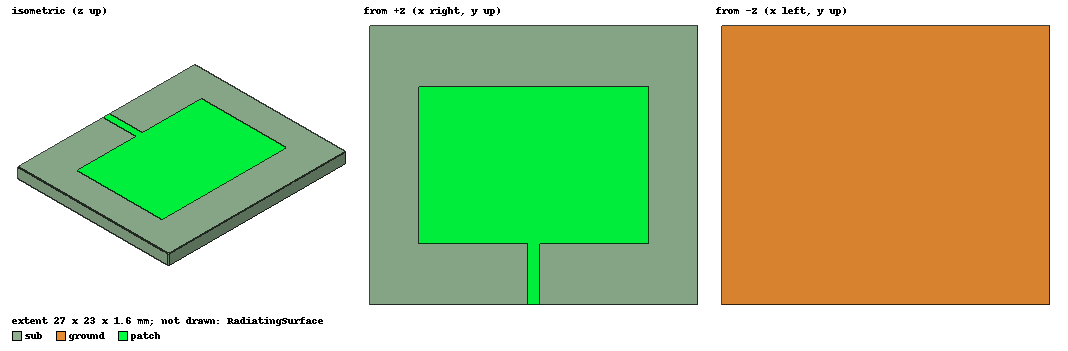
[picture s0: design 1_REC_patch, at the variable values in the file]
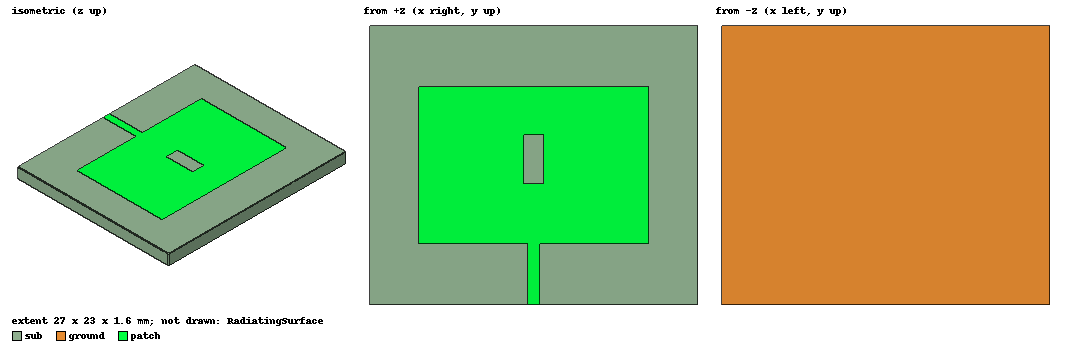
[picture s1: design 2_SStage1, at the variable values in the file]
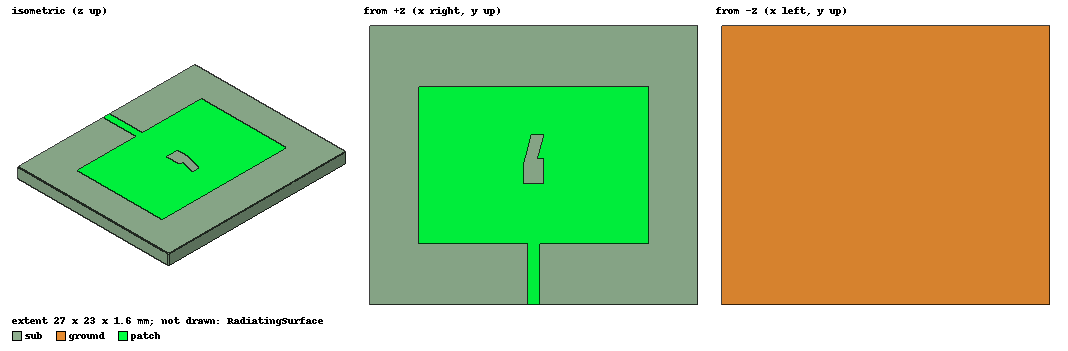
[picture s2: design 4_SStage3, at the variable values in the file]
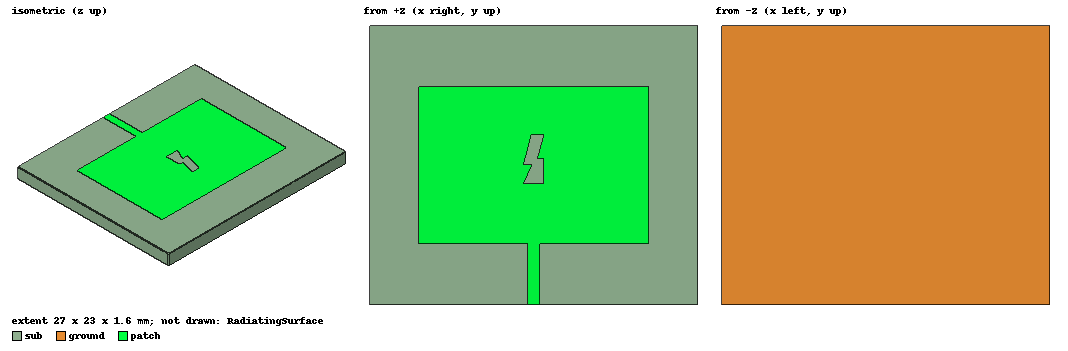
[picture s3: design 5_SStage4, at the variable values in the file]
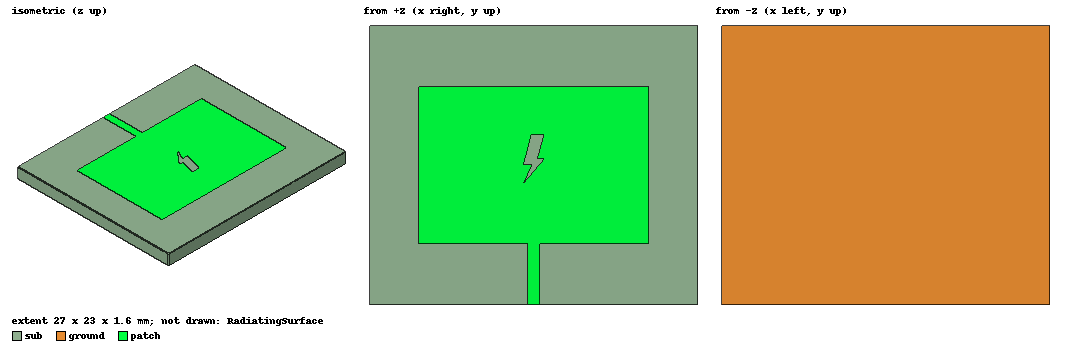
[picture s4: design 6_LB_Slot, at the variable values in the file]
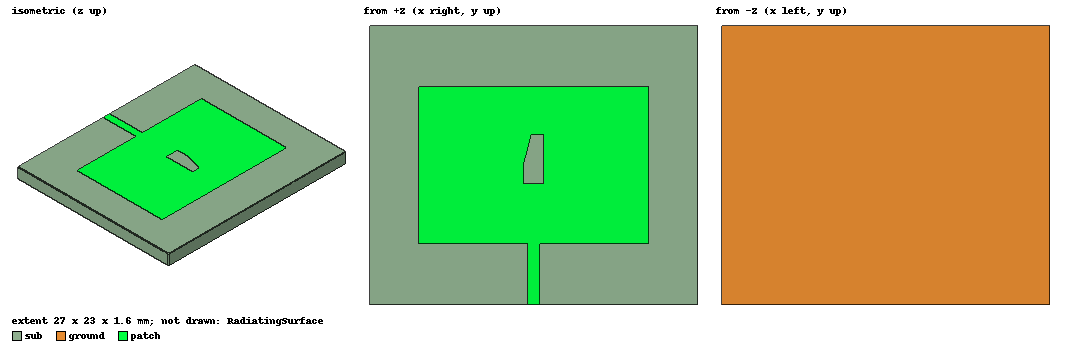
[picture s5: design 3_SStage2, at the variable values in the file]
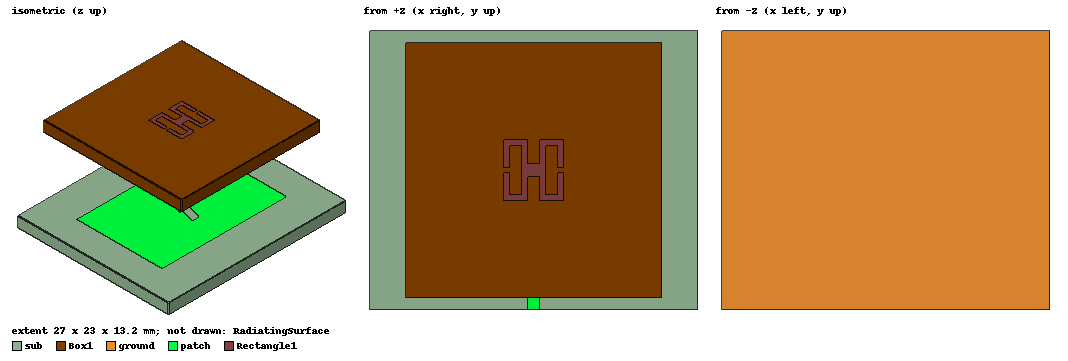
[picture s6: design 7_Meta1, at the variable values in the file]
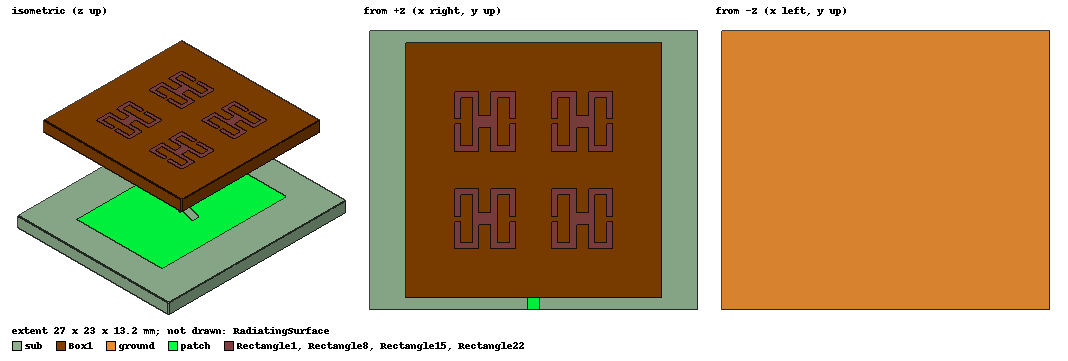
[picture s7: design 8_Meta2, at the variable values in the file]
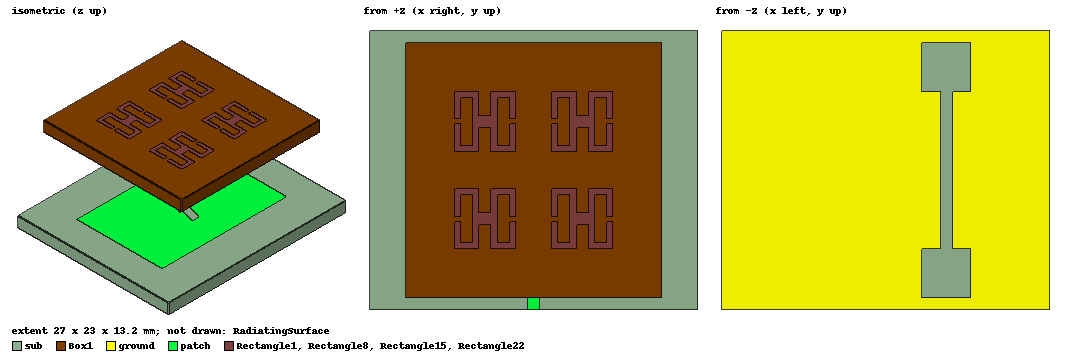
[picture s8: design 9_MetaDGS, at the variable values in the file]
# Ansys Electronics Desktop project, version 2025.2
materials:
  FR4_epoxy: permittivity=4.4 dielectric_loss_tangent=0.02
  vacuum: permittivity=1

design 1_REC_patch (HFSS, HFSS Modal Network, model units mm)
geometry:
  sub [FR4_epoxy] = box(corner=(0mm, 0mm, -1.6mm), size=(27mm, 23mm, 1.6mm))
  patch = rectangle(corner=(4mm, 5mm, 0mm), x_size=19mm, y_size=13mm)
  feed = rectangle(corner=(13mm, 0mm, 0mm), x_size=1mm, y_size=6mm)
  patch.unite(feed)
  ground = rectangle(corner=(0mm, 0mm, -1.6mm), x_size=27mm, y_size=23mm)
  port = rectangle(corner=(13mm, 0mm, 0mm), z_size=-1.6mm, x_size=1mm)
  RadiatingSurface [vacuum] = region(absolute_offset=20mm on all sides)
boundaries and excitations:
  PerfE1: Perfect E Objects=patch
  PerfE2: Perfect E Objects=ground
  Open1: Radiation Objects=RadiatingSurface
  1: Lumped Port Objects=port LumpedPortType=Modal Modes{Mode1{IntLine{(13.5, 0, -1.6) -> (13.5, 0, 0)} CharImp=Zpi}} Impedance=50ohm
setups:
  Setup1: HfssDriven Frequency=5GHz MaxDeltaS=0.02 MaximumPasses=6 MinimumPasses=1 MinimumConvergedPasses=1 PercentRefinement=30 BasisOrder=1 PortAccuracy=2 DrivenSolverType="Direct Solver"
    sweep Sweep: 2.5GHz to 7.5GHz, 401 points; Type=Fast SaveFields
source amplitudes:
  1:1: 1W 0deg
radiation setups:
  3D: Infinite Sphere Theta=0deg..180deg step 2deg Phi=-180deg..180deg step 2deg
  Elevation: Infinite Sphere Theta=-180deg..180deg step 1deg Phi=0deg..90deg step 90deg
  Azimuth: Infinite Sphere Theta=90deg..90deg step 0deg Phi=-180deg..180deg step 1deg
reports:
  S Parameter Plot1: dB(S(1,1)) vs Freq on Setup1 : Sweep; markers m1 at 5GHz, MY1 at y=-10
  Gain Plot1: dB(GainTotal) vs Phi, Theta on Setup1 : Sweep, 3D [Freq=5GHz]

design 2_SStage1 (HFSS, HFSS Modal Network, model units mm)
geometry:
  sub [FR4_epoxy] = box(corner=(0mm, 0mm, -1.6mm), size=(27mm, 23mm, 1.6mm))
  patch = rectangle(corner=(4mm, 5mm, 0mm), x_size=19mm, y_size=13mm)
  feed = rectangle(corner=(13mm, 0mm, 0mm), x_size=1mm, y_size=6mm)
  patch.unite(feed)
  ground = rectangle(corner=(0mm, 0mm, -1.6mm), x_size=27mm, y_size=23mm)
  port = rectangle(corner=(13mm, 0mm, 0mm), z_size=-1.6mm, x_size=1mm)
  RadiatingSurface [vacuum] = region(absolute_offset=20mm on all sides)
  point Point1 = (12.65mm, 8.85mm, 0mm)
  Rectangle1 = rectangle(corner=(12.65mm, 10mm, 0mm), x_size=1.7mm, y_size=4mm)
  patch.subtract(Rectangle1)
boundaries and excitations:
  PerfE1: Perfect E Objects=patch
  PerfE2: Perfect E Objects=ground
  Open1: Radiation Objects=RadiatingSurface
  1: Lumped Port Objects=port LumpedPortType=Modal Modes{Mode1{IntLine{(13.5, 0, -1.6) -> (13.5, 0, 0)} CharImp=Zpi}} Impedance=50ohm
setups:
  Setup1: HfssDriven Frequency=5GHz MaxDeltaS=0.02 MaximumPasses=6 MinimumPasses=1 MinimumConvergedPasses=1 PercentRefinement=30 BasisOrder=1 PortAccuracy=2 DrivenSolverType="Direct Solver"
    sweep Sweep: 2.5GHz to 7.5GHz, 401 points; Type=Fast SaveFields
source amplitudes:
  1:1: 1W 0deg
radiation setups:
  3D: Infinite Sphere Theta=0deg..180deg step 2deg Phi=-180deg..180deg step 2deg
  Elevation: Infinite Sphere Theta=-180deg..180deg step 1deg Phi=0deg..90deg step 90deg
  Azimuth: Infinite Sphere Theta=90deg..90deg step 0deg Phi=-180deg..180deg step 1deg
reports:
  S Parameter Plot1: dB(S(1,1)) vs Freq on Setup1 : Sweep; markers m1 at 5GHz, MY1 at y=-10
  Gain Plot1: dB(GainTotal) vs Phi, Theta on Setup1 : Sweep, 3D [Freq=5GHz]

design 4_SStage3 (HFSS, HFSS Modal Network, model units mm)
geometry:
  sub [FR4_epoxy] = box(corner=(0mm, 0mm, -1.6mm), size=(27mm, 23mm, 1.6mm))
  patch = rectangle(corner=(4mm, 5mm, 0mm), x_size=19mm, y_size=13mm)
  feed = rectangle(corner=(13mm, 0mm, 0mm), x_size=1mm, y_size=6mm)
  patch.unite(feed)
  ground = rectangle(corner=(0mm, 0mm, -1.6mm), x_size=27mm, y_size=23mm)
  port = rectangle(corner=(13mm, 0mm, 0mm), z_size=-1.6mm, x_size=1mm)
  RadiatingSurface [vacuum] = region(absolute_offset=20mm on all sides)
  point Point1 = (12.65mm, 8.85mm, 0mm)
  Rectangle1 = rectangle(corner=(12.65mm, 10mm, 0mm), x_size=1.7mm, y_size=4mm)
  Polyline1 = polyline(z=0mm, xy in mm: (12.65, 14) (13.3, 14) (12.65, 11.5) (12.65, 14), closed, covered)
  Rectangle1.subtract(Polyline1)
  Polyline2 = polyline(z=0mm, xy in mm: (14.35, 14) (13.8, 12) (14.35, 12) (14.35, 14), closed, covered)
  Rectangle1.subtract(Polyline2)
  patch.subtract(Rectangle1)
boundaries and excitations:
  PerfE1: Perfect E Objects=patch
  PerfE2: Perfect E Objects=ground
  Open1: Radiation Objects=RadiatingSurface
  1: Lumped Port Objects=port LumpedPortType=Modal Modes{Mode1{IntLine{(13.5, 0, -1.6) -> (13.5, 0, 0)} CharImp=Zpi}} Impedance=50ohm
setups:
  Setup1: HfssDriven Frequency=5GHz MaxDeltaS=0.02 MaximumPasses=6 MinimumPasses=1 MinimumConvergedPasses=1 PercentRefinement=30 BasisOrder=1 PortAccuracy=2 DrivenSolverType="Direct Solver"
    sweep Sweep: 2.5GHz to 7.5GHz, 401 points; Type=Fast SaveFields
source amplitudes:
  1:1: 1W 0deg
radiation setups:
  3D: Infinite Sphere Theta=0deg..180deg step 2deg Phi=-180deg..180deg step 2deg
  Elevation: Infinite Sphere Theta=-180deg..180deg step 1deg Phi=0deg..90deg step 90deg
  Azimuth: Infinite Sphere Theta=90deg..90deg step 0deg Phi=-180deg..180deg step 1deg
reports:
  S Parameter Plot1: dB(S(1,1)) vs Freq on Setup1 : Sweep; markers m1 at 4.9875GHz, MY1 at y=-10
  Gain Plot1: dB(GainTotal) vs Phi, Theta on Setup1 : Sweep, 3D [Freq=4.9875GHz]

design 5_SStage4 (HFSS, HFSS Modal Network, model units mm)
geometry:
  sub [FR4_epoxy] = box(corner=(0mm, 0mm, -1.6mm), size=(27mm, 23mm, 1.6mm))
  patch = rectangle(corner=(4mm, 5mm, 0mm), x_size=19mm, y_size=13mm)
  feed = rectangle(corner=(13mm, 0mm, 0mm), x_size=1mm, y_size=6mm)
  patch.unite(feed)
  ground = rectangle(corner=(0mm, 0mm, -1.6mm), x_size=27mm, y_size=23mm)
  port = rectangle(corner=(13mm, 0mm, 0mm), z_size=-1.6mm, x_size=1mm)
  RadiatingSurface [vacuum] = region(absolute_offset=20mm on all sides)
  point Point1 = (12.65mm, 8.85mm, 0mm)
  Rectangle1 = rectangle(corner=(12.65mm, 10mm, 0mm), x_size=1.7mm, y_size=4mm)
  Polyline1 = polyline(z=0mm, xy in mm: (12.65, 14) (13.3, 14) (12.65, 11.5) (12.65, 14), closed, covered)
  Rectangle1.subtract(Polyline1)
  Polyline2 = polyline(z=0mm, xy in mm: (14.35, 14) (13.8, 12) (14.35, 12) (14.35, 14), closed, covered)
  Rectangle1.subtract(Polyline2)
  Polyline3 = polyline(z=0mm, xy in mm: (12.65, 11.5) (13.35, 11.5) (12.65, 10) (12.65, 11.5), closed, covered)
  Rectangle1.subtract(Polyline3)
  patch.subtract(Rectangle1)
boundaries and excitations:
  PerfE1: Perfect E Objects=patch
  PerfE2: Perfect E Objects=ground
  Open1: Radiation Objects=RadiatingSurface
  1: Lumped Port Objects=port LumpedPortType=Modal Modes{Mode1{IntLine{(13.5, 0, -1.6) -> (13.5, 0, 0)} CharImp=Zpi}} Impedance=50ohm
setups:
  Setup1: HfssDriven Frequency=5GHz MaxDeltaS=0.02 MaximumPasses=6 MinimumPasses=1 MinimumConvergedPasses=1 PercentRefinement=30 BasisOrder=1 PortAccuracy=2 DrivenSolverType="Direct Solver"
    sweep Sweep: 2.5GHz to 7.5GHz, 401 points; Type=Fast SaveFields
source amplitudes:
  1:1: 1W 0deg
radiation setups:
  3D: Infinite Sphere Theta=0deg..180deg step 2deg Phi=-180deg..180deg step 2deg
  Elevation: Infinite Sphere Theta=-180deg..180deg step 1deg Phi=0deg..90deg step 90deg
  Azimuth: Infinite Sphere Theta=90deg..90deg step 0deg Phi=-180deg..180deg step 1deg
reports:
  S Parameter Plot1: dB(S(1,1)) vs Freq on Setup1 : Sweep; markers m1 at 5GHz, MY1 at y=-10
  Gain Plot1: dB(GainTotal) vs Phi, Theta on Setup1 : Sweep, 3D [Freq=5GHz]

design 6_LB_Slot (HFSS, HFSS Modal Network, model units mm)
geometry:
  sub [FR4_epoxy] = box(corner=(0mm, 0mm, -1.6mm), size=(27mm, 23mm, 1.6mm))
  patch = rectangle(corner=(4mm, 5mm, 0mm), x_size=19mm, y_size=13mm)
  feed = rectangle(corner=(13mm, 0mm, 0mm), x_size=1mm, y_size=6mm)
  patch.unite(feed)
  ground = rectangle(corner=(0mm, 0mm, -1.6mm), x_size=27mm, y_size=23mm)
  port = rectangle(corner=(13mm, 0mm, 0mm), z_size=-1.6mm, x_size=1mm)
  RadiatingSurface [vacuum] = region(absolute_offset=20mm on all sides)
  point Point1 = (12.65mm, 8.85mm, 0mm)
  Rectangle1 = rectangle(corner=(12.65mm, 10mm, 0mm), x_size=1.7mm, y_size=4mm)
  Polyline1 = polyline(z=0mm, xy in mm: (12.65, 14) (13.3, 14) (12.65, 11.5) (12.65, 14), closed, covered)
  Rectangle1.subtract(Polyline1)
  Polyline2 = polyline(z=0mm, xy in mm: (14.35, 14) (13.8, 12) (14.35, 12) (14.35, 14), closed, covered)
  Rectangle1.subtract(Polyline2)
  Polyline3 = polyline(z=0mm, xy in mm: (12.65, 11.5) (13.35, 11.5) (12.65, 10) (12.65, 11.5), closed, covered)
  Rectangle1.subtract(Polyline3)
  Polyline4 = polyline(z=0mm, xy in mm: (14.35, 12) (14.35, 10) (12.65, 10) (14.35, 12), closed, covered)
  Rectangle1.subtract(Polyline4)
  patch.subtract(Rectangle1)
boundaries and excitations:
  PerfE1: Perfect E Objects=patch
  PerfE2: Perfect E Objects=ground
  Open1: Radiation Objects=RadiatingSurface
  1: Lumped Port Objects=port LumpedPortType=Modal Modes{Mode1{IntLine{(13.5, 0, -1.6) -> (13.5, 0, 0)} CharImp=Zpi}} Impedance=50ohm
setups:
  Setup1: HfssDriven Frequency=5GHz MaxDeltaS=0.02 MaximumPasses=6 MinimumPasses=1 MinimumConvergedPasses=1 PercentRefinement=30 BasisOrder=1 PortAccuracy=2 DrivenSolverType="Direct Solver"
    sweep Sweep: 2.5GHz to 7.5GHz, 401 points; Type=Fast SaveFields
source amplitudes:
  1:1: 1W 0deg
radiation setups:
  3D: Infinite Sphere Theta=0deg..180deg step 2deg Phi=-180deg..180deg step 2deg
  Elevation: Infinite Sphere Theta=-180deg..180deg step 1deg Phi=0deg..90deg step 90deg
  Azimuth: Infinite Sphere Theta=90deg..90deg step 0deg Phi=-180deg..180deg step 1deg
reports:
  S Parameter Plot1: dB(S(1,1)) vs Freq on Setup1 : Sweep; markers m1 at 5GHz, MY1 at y=-10
  Gain Plot1: dB(GainTotal) vs Phi, Theta on Setup1 : Sweep, 3D [Freq=5GHz]

design 3_SStage2 (HFSS, HFSS Modal Network, model units mm)
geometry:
  sub [FR4_epoxy] = box(corner=(0mm, 0mm, -1.6mm), size=(27mm, 23mm, 1.6mm))
  patch = rectangle(corner=(4mm, 5mm, 0mm), x_size=19mm, y_size=13mm)
  feed = rectangle(corner=(13mm, 0mm, 0mm), x_size=1mm, y_size=6mm)
  patch.unite(feed)
  ground = rectangle(corner=(0mm, 0mm, -1.6mm), x_size=27mm, y_size=23mm)
  port = rectangle(corner=(13mm, 0mm, 0mm), z_size=-1.6mm, x_size=1mm)
  RadiatingSurface [vacuum] = region(absolute_offset=20mm on all sides)
  point Point1 = (12.65mm, 8.85mm, 0mm)
  Rectangle1 = rectangle(corner=(12.65mm, 10mm, 0mm), x_size=1.7mm, y_size=4mm)
  Polyline1 = polyline(z=0mm, xy in mm: (12.65, 14) (13.3, 14) (12.65, 11.5) (12.65, 14), closed, covered)
  Rectangle1.subtract(Polyline1)
  patch.subtract(Rectangle1)
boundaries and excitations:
  PerfE1: Perfect E Objects=patch
  PerfE2: Perfect E Objects=ground
  Open1: Radiation Objects=RadiatingSurface
  1: Lumped Port Objects=port LumpedPortType=Modal Modes{Mode1{IntLine{(13.5, 0, -1.6) -> (13.5, 0, 0)} CharImp=Zpi}} Impedance=50ohm
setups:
  Setup1: HfssDriven Frequency=5GHz MaxDeltaS=0.02 MaximumPasses=6 MinimumPasses=1 MinimumConvergedPasses=1 PercentRefinement=30 BasisOrder=1 PortAccuracy=2 DrivenSolverType="Direct Solver"
    sweep Sweep: 2.5GHz to 7.5GHz, 401 points; Type=Fast SaveFields
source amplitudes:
  1:1: 1W 0deg
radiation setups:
  3D: Infinite Sphere Theta=0deg..180deg step 2deg Phi=-180deg..180deg step 2deg
  Elevation: Infinite Sphere Theta=-180deg..180deg step 1deg Phi=0deg..90deg step 90deg
  Azimuth: Infinite Sphere Theta=90deg..90deg step 0deg Phi=-180deg..180deg step 1deg
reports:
  S Parameter Plot1: dB(S(1,1)) vs Freq on Setup1 : Sweep; markers m1 at 5GHz, MY1 at y=-10
  Gain Plot1: dB(GainTotal) vs Phi, Theta on Setup1 : Sweep, 3D [Freq=5GHz]

design 7_Meta1 (HFSS, HFSS Modal Network, model units mm)
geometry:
  sub [FR4_epoxy] = box(corner=(0mm, 0mm, -1.6mm), size=(27mm, 23mm, 1.6mm))
  patch = rectangle(corner=(4mm, 5mm, 0mm), x_size=19mm, y_size=13mm)
  feed = rectangle(corner=(13mm, 0mm, 0mm), x_size=1mm, y_size=6mm)
  patch.unite(feed)
  ground = rectangle(corner=(0mm, 0mm, -1.6mm), x_size=27mm, y_size=23mm)
  port = rectangle(corner=(13mm, 0mm, 0mm), z_size=-1.6mm, x_size=1mm)
  Polyline1 = polyline(z=0mm, xy in mm: (13.3, 14) (14.35, 14) (13.8, 12) (14.35, 12) (12.65, 10) (13.35, 11.5) (12.65, 11.5) (13.3, 14), closed, covered)
  patch.subtract(Polyline1)
  point Point1 = (12.65mm, 8.85mm, 0mm)
  Box1 [FR4_epoxy] = box(corner=(3mm, 1mm, 10mm), size=(21mm, 21mm, 1.6mm))
  Rectangle1 = rectangle(corner=(7mm, 7mm, 1.6mm), x_size=1mm, y_size=1mm)
  Rectangle2 = rectangle(corner=(4mm, 5mm, 1.6mm), x_size=2mm, y_size=5mm)
  Rectangle3 = rectangle(corner=(4.5mm, 5.5mm, 1.6mm), x_size=1mm, y_size=4mm)
  Rectangle4 = rectangle(corner=(4mm, 7.3mm, 1.6mm), x_size=0.6mm, y_size=0.4mm)
  Rectangle2.subtract(Rectangle3, Rectangle4)
  Rectangle2.move(1mm, 0mm, 0mm)
  Rectangle5 = rectangle(corner=(4mm, 5mm, 1.6mm), x_size=2mm, y_size=5mm)
  Rectangle6 = rectangle(corner=(4.5mm, 5.5mm, 1.6mm), x_size=1mm, y_size=4mm)
  Rectangle7 = rectangle(corner=(4mm, 7.3mm, 1.6mm), x_size=0.6mm, y_size=0.4mm)
  Rectangle5.subtract(Rectangle6, Rectangle7)
  Rectangle5.move(4mm, -8.8817842e-16mm, 1.6mm)
  Rectangle5.mirror(point=(10.5mm, 7.5mm, 1.5mm), normal=(1mm, 0mm, 0mm))
  Rectangle5.move(-2mm, 0mm, -1.6mm)
  Rectangle5.move(-1mm, 0mm, 0mm)
  Rectangle1.unite(Rectangle2, Rectangle5)
  Rectangle1.move(6mm, 4mm, 10mm)
  RadiatingSurface [vacuum] = region(absolute_offset=20mm on all sides)
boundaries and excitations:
  PerfE1: Perfect E Objects=patch
  PerfE2: Perfect E Objects=ground
  PerfE4: Perfect E Objects=Rectangle1
  Open1: Radiation Objects=RadiatingSurface
  1: Lumped Port Objects=port LumpedPortType=Modal Modes{Mode1{IntLine{(13.5, 0, -1.6) -> (13.5, 0, 0)} CharImp=Zpi}} Impedance=50ohm
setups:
  Setup1: HfssDriven Frequency=5GHz MaxDeltaS=0.02 MaximumPasses=6 MinimumPasses=1 MinimumConvergedPasses=1 PercentRefinement=30 BasisOrder=1 PortAccuracy=2 DrivenSolverType="Direct Solver"
    sweep Sweep: 2.5GHz to 7.5GHz, 401 points; Type=Fast SaveFields
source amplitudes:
  1:1: 1W 0deg
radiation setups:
  3D: Infinite Sphere Theta=0deg..180deg step 2deg Phi=-180deg..180deg step 2deg
  Elevation: Infinite Sphere Theta=-180deg..180deg step 1deg Phi=0deg..90deg step 90deg
  Azimuth: Infinite Sphere Theta=90deg..90deg step 0deg Phi=-180deg..180deg step 1deg
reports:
  S Parameter Plot1: dB(S(1,1)) vs Freq on Setup1 : Sweep; markers m1 at 4.9875GHz, MY1 at y=-10
  Gain Plot1: dB(GainTotal) vs Phi, Theta on Setup1 : Sweep, 3D [Freq=4.9875GHz]

design 8_Meta2 (HFSS, HFSS Modal Network, model units mm)
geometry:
  sub [FR4_epoxy] = box(corner=(0mm, 0mm, -1.6mm), size=(27mm, 23mm, 1.6mm))
  patch = rectangle(corner=(4mm, 5mm, 0mm), x_size=19mm, y_size=13mm)
  feed = rectangle(corner=(13mm, 0mm, 0mm), x_size=1mm, y_size=6mm)
  patch.unite(feed)
  ground = rectangle(corner=(0mm, 0mm, -1.6mm), x_size=27mm, y_size=23mm)
  port = rectangle(corner=(13mm, 0mm, 0mm), z_size=-1.6mm, x_size=1mm)
  Polyline1 = polyline(z=0mm, xy in mm: (13.3, 14) (14.35, 14) (13.8, 12) (14.35, 12) (12.65, 10) (13.35, 11.5) (12.65, 11.5) (13.3, 14), closed, covered)
  patch.subtract(Polyline1)
  point Point1 = (12.65mm, 8.85mm, 0mm)
  Box1 [FR4_epoxy] = box(corner=(3mm, 1mm, 10mm), size=(21mm, 21mm, 1.6mm))
  Rectangle1 = rectangle(corner=(7mm, 7mm, 1.6mm), x_size=1mm, y_size=1mm)
  Rectangle2 = rectangle(corner=(4mm, 5mm, 1.6mm), x_size=2mm, y_size=5mm)
  Rectangle3 = rectangle(corner=(4.5mm, 5.5mm, 1.6mm), x_size=1mm, y_size=4mm)
  Rectangle4 = rectangle(corner=(4mm, 7.3mm, 1.6mm), x_size=0.6mm, y_size=0.4mm)
  Rectangle2.subtract(Rectangle3, Rectangle4)
  Rectangle2.move(1mm, 0mm, 0mm)
  Rectangle5 = rectangle(corner=(4mm, 5mm, 1.6mm), x_size=2mm, y_size=5mm)
  Rectangle6 = rectangle(corner=(4.5mm, 5.5mm, 1.6mm), x_size=1mm, y_size=4mm)
  Rectangle7 = rectangle(corner=(4mm, 7.3mm, 1.6mm), x_size=0.6mm, y_size=0.4mm)
  Rectangle5.subtract(Rectangle6, Rectangle7)
  Rectangle5.move(4mm, -8.8817842e-16mm, 1.6mm)
  Rectangle5.mirror(point=(10.5mm, 7.5mm, 1.5mm), normal=(1mm, 0mm, 0mm))
  Rectangle5.move(-2mm, 0mm, -1.6mm)
  Rectangle5.move(-1mm, 0mm, 0mm)
  Rectangle1.unite(Rectangle2, Rectangle5)
  Rectangle1.move(6mm, 4mm, 10mm)
  Rectangle1.move(-4mm, 4mm, 0mm)
  Rectangle8 = rectangle(corner=(7mm, 7mm, 1.6mm), x_size=1mm, y_size=1mm)
  Rectangle9 = rectangle(corner=(4mm, 5mm, 1.6mm), x_size=2mm, y_size=5mm)
  Rectangle10 = rectangle(corner=(4.5mm, 5.5mm, 1.6mm), x_size=1mm, y_size=4mm)
  Rectangle11 = rectangle(corner=(4mm, 7.3mm, 1.6mm), x_size=0.6mm, y_size=0.4mm)
  Rectangle9.subtract(Rectangle10, Rectangle11)
  Rectangle9.move(1mm, 0mm, 0mm)
  Rectangle12 = rectangle(corner=(4mm, 5mm, 1.6mm), x_size=2mm, y_size=5mm)
  Rectangle13 = rectangle(corner=(4.5mm, 5.5mm, 1.6mm), x_size=1mm, y_size=4mm)
  Rectangle14 = rectangle(corner=(4mm, 7.3mm, 1.6mm), x_size=0.6mm, y_size=0.4mm)
  Rectangle12.subtract(Rectangle13, Rectangle14)
  Rectangle12.move(4mm, -8.8817842e-16mm, 1.6mm)
  Rectangle12.mirror(point=(10.5mm, 7.5mm, 1.5mm), normal=(1mm, 0mm, 0mm))
  Rectangle12.move(-2mm, 0mm, -1.6mm)
  Rectangle12.move(-1mm, 0mm, 0mm)
  Rectangle8.unite(Rectangle9, Rectangle12)
  Rectangle8.move(6mm, 4mm, 10mm)
  Rectangle8.move(-4mm, 4mm, 0mm)
  Rectangle8.move(8mm, 0mm, 0mm)
  Rectangle15 = rectangle(corner=(7mm, 7mm, 1.6mm), x_size=1mm, y_size=1mm)
  Rectangle16 = rectangle(corner=(4mm, 5mm, 1.6mm), x_size=2mm, y_size=5mm)
  Rectangle17 = rectangle(corner=(4.5mm, 5.5mm, 1.6mm), x_size=1mm, y_size=4mm)
  Rectangle18 = rectangle(corner=(4mm, 7.3mm, 1.6mm), x_size=0.6mm, y_size=0.4mm)
  Rectangle16.subtract(Rectangle17, Rectangle18)
  Rectangle16.move(1mm, 0mm, 0mm)
  Rectangle19 = rectangle(corner=(4mm, 5mm, 1.6mm), x_size=2mm, y_size=5mm)
  Rectangle20 = rectangle(corner=(4.5mm, 5.5mm, 1.6mm), x_size=1mm, y_size=4mm)
  Rectangle21 = rectangle(corner=(4mm, 7.3mm, 1.6mm), x_size=0.6mm, y_size=0.4mm)
  Rectangle19.subtract(Rectangle20, Rectangle21)
  Rectangle19.move(4mm, -8.8817842e-16mm, 1.6mm)
  Rectangle19.mirror(point=(10.5mm, 7.5mm, 1.5mm), normal=(1mm, 0mm, 0mm))
  Rectangle19.move(-2mm, 0mm, -1.6mm)
  Rectangle19.move(-1mm, 0mm, 0mm)
  Rectangle15.unite(Rectangle16, Rectangle19)
  Rectangle15.move(6mm, 4mm, 10mm)
  Rectangle15.move(-4mm, 4mm, 0mm)
  Rectangle15.move(0mm, -8mm, 0mm)
  Rectangle22 = rectangle(corner=(7mm, 7mm, 1.6mm), x_size=1mm, y_size=1mm)
  Rectangle23 = rectangle(corner=(4mm, 5mm, 1.6mm), x_size=2mm, y_size=5mm)
  Rectangle24 = rectangle(corner=(4.5mm, 5.5mm, 1.6mm), x_size=1mm, y_size=4mm)
  Rectangle25 = rectangle(corner=(4mm, 7.3mm, 1.6mm), x_size=0.6mm, y_size=0.4mm)
  Rectangle23.subtract(Rectangle24, Rectangle25)
  Rectangle23.move(1mm, 0mm, 0mm)
  Rectangle26 = rectangle(corner=(4mm, 5mm, 1.6mm), x_size=2mm, y_size=5mm)
  Rectangle27 = rectangle(corner=(4.5mm, 5.5mm, 1.6mm), x_size=1mm, y_size=4mm)
  Rectangle28 = rectangle(corner=(4mm, 7.3mm, 1.6mm), x_size=0.6mm, y_size=0.4mm)
  Rectangle26.subtract(Rectangle27, Rectangle28)
  Rectangle26.move(4mm, -8.8817842e-16mm, 1.6mm)
  Rectangle26.mirror(point=(10.5mm, 7.5mm, 1.5mm), normal=(1mm, 0mm, 0mm))
  Rectangle26.move(-2mm, 0mm, -1.6mm)
  Rectangle26.move(-1mm, 0mm, 0mm)
  Rectangle22.unite(Rectangle23, Rectangle26)
  Rectangle22.move(6mm, 4mm, 10mm)
  Rectangle22.move(-4mm, 4mm, 0mm)
  Rectangle22.move(0mm, -8mm, 0mm)
  Rectangle22.move(8mm, 0mm, 0mm)
  RadiatingSurface [vacuum] = region(absolute_offset=20mm on all sides)
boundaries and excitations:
  PerfE1: Perfect E Objects=patch
  PerfE2: Perfect E Objects=ground
  PerfE4: Perfect E Objects=Rectangle1
  PerfE5: Perfect E Objects=Rectangle8
  PerfE6: Perfect E Objects=Rectangle15
  PerfE7: Perfect E Objects=Rectangle22
  Open1: Radiation Objects=RadiatingSurface
  1: Lumped Port Objects=port LumpedPortType=Modal Modes{Mode1{IntLine{(13.5, 0, -1.6) -> (13.5, 0, 0)} CharImp=Zpi}} Impedance=50ohm
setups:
  Setup1: HfssDriven Frequency=5GHz MaxDeltaS=0.02 MaximumPasses=6 MinimumPasses=1 MinimumConvergedPasses=1 PercentRefinement=30 BasisOrder=1 PortAccuracy=2 DrivenSolverType="Direct Solver"
    sweep Sweep: 2.5GHz to 7.5GHz, 401 points; Type=Fast SaveFields
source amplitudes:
  1:1: 1W 0deg
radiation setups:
  3D: Infinite Sphere Theta=0deg..180deg step 2deg Phi=-180deg..180deg step 2deg
  Elevation: Infinite Sphere Theta=-180deg..180deg step 1deg Phi=0deg..90deg step 90deg
  Azimuth: Infinite Sphere Theta=90deg..90deg step 0deg Phi=-180deg..180deg step 1deg
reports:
  S Parameter Plot1: dB(S(1,1)) vs Freq on Setup1 : Sweep; markers m1 at 4.9875GHz, MY1 at y=-10
  Gain Plot1: dB(GainTotal) vs Phi, Theta on Setup1 : Sweep, 3D [Freq=4.9875GHz]

design 9_MetaDGS (HFSS, HFSS Modal Network, model units mm)
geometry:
  sub [FR4_epoxy] = box(corner=(0mm, 0mm, -1.6mm), size=(27mm, 23mm, 1.6mm))
  patch = rectangle(corner=(4mm, 5mm, 0mm), x_size=19mm, y_size=13mm)
  feed = rectangle(corner=(13mm, 0mm, 0mm), x_size=1mm, y_size=6mm)
  patch.unite(feed)
  ground = rectangle(corner=(0mm, 0mm, -1.6mm), x_size=27mm, y_size=23mm)
  port = rectangle(corner=(13mm, 0mm, 0mm), z_size=-1.6mm, x_size=1mm)
  Polyline1 = polyline(z=0mm, xy in mm: (13.3, 14) (14.35, 14) (13.8, 12) (14.35, 12) (12.65, 10) (13.35, 11.5) (12.65, 11.5) (13.3, 14), closed, covered)
  patch.subtract(Polyline1)
  point Point1 = (12.65mm, 8.85mm, 0mm)
  Box1 [FR4_epoxy] = box(corner=(3mm, 1mm, 10mm), size=(21mm, 21mm, 1.6mm))
  Rectangle1 = rectangle(corner=(7mm, 7mm, 1.6mm), x_size=1mm, y_size=1mm)
  Rectangle2 = rectangle(corner=(4mm, 5mm, 1.6mm), x_size=2mm, y_size=5mm)
  Rectangle3 = rectangle(corner=(4.5mm, 5.5mm, 1.6mm), x_size=1mm, y_size=4mm)
  Rectangle4 = rectangle(corner=(4mm, 7.3mm, 1.6mm), x_size=0.6mm, y_size=0.4mm)
  Rectangle2.subtract(Rectangle3, Rectangle4)
  Rectangle2.move(1mm, 0mm, 0mm)
  Rectangle5 = rectangle(corner=(4mm, 5mm, 1.6mm), x_size=2mm, y_size=5mm)
  Rectangle6 = rectangle(corner=(4.5mm, 5.5mm, 1.6mm), x_size=1mm, y_size=4mm)
  Rectangle7 = rectangle(corner=(4mm, 7.3mm, 1.6mm), x_size=0.6mm, y_size=0.4mm)
  Rectangle5.subtract(Rectangle6, Rectangle7)
  Rectangle5.move(4mm, -8.8817842e-16mm, 1.6mm)
  Rectangle5.mirror(point=(10.5mm, 7.5mm, 1.5mm), normal=(1mm, 0mm, 0mm))
  Rectangle5.move(-2mm, 0mm, -1.6mm)
  Rectangle5.move(-1mm, 0mm, 0mm)
  Rectangle1.unite(Rectangle2, Rectangle5)
  Rectangle1.move(6mm, 4mm, 10mm)
  Rectangle1.move(-4mm, 4mm, 0mm)
  Rectangle8 = rectangle(corner=(7mm, 7mm, 1.6mm), x_size=1mm, y_size=1mm)
  Rectangle9 = rectangle(corner=(4mm, 5mm, 1.6mm), x_size=2mm, y_size=5mm)
  Rectangle10 = rectangle(corner=(4.5mm, 5.5mm, 1.6mm), x_size=1mm, y_size=4mm)
  Rectangle11 = rectangle(corner=(4mm, 7.3mm, 1.6mm), x_size=0.6mm, y_size=0.4mm)
  Rectangle9.subtract(Rectangle10, Rectangle11)
  Rectangle9.move(1mm, 0mm, 0mm)
  Rectangle12 = rectangle(corner=(4mm, 5mm, 1.6mm), x_size=2mm, y_size=5mm)
  Rectangle13 = rectangle(corner=(4.5mm, 5.5mm, 1.6mm), x_size=1mm, y_size=4mm)
  Rectangle14 = rectangle(corner=(4mm, 7.3mm, 1.6mm), x_size=0.6mm, y_size=0.4mm)
  Rectangle12.subtract(Rectangle13, Rectangle14)
  Rectangle12.move(4mm, -8.8817842e-16mm, 1.6mm)
  Rectangle12.mirror(point=(10.5mm, 7.5mm, 1.5mm), normal=(1mm, 0mm, 0mm))
  Rectangle12.move(-2mm, 0mm, -1.6mm)
  Rectangle12.move(-1mm, 0mm, 0mm)
  Rectangle8.unite(Rectangle9, Rectangle12)
  Rectangle8.move(6mm, 4mm, 10mm)
  Rectangle8.move(-4mm, 4mm, 0mm)
  Rectangle8.move(8mm, 0mm, 0mm)
  Rectangle15 = rectangle(corner=(7mm, 7mm, 1.6mm), x_size=1mm, y_size=1mm)
  Rectangle16 = rectangle(corner=(4mm, 5mm, 1.6mm), x_size=2mm, y_size=5mm)
  Rectangle17 = rectangle(corner=(4.5mm, 5.5mm, 1.6mm), x_size=1mm, y_size=4mm)
  Rectangle18 = rectangle(corner=(4mm, 7.3mm, 1.6mm), x_size=0.6mm, y_size=0.4mm)
  Rectangle16.subtract(Rectangle17, Rectangle18)
  Rectangle16.move(1mm, 0mm, 0mm)
  Rectangle19 = rectangle(corner=(4mm, 5mm, 1.6mm), x_size=2mm, y_size=5mm)
  Rectangle20 = rectangle(corner=(4.5mm, 5.5mm, 1.6mm), x_size=1mm, y_size=4mm)
  Rectangle21 = rectangle(corner=(4mm, 7.3mm, 1.6mm), x_size=0.6mm, y_size=0.4mm)
  Rectangle19.subtract(Rectangle20, Rectangle21)
  Rectangle19.move(4mm, -8.8817842e-16mm, 1.6mm)
  Rectangle19.mirror(point=(10.5mm, 7.5mm, 1.5mm), normal=(1mm, 0mm, 0mm))
  Rectangle19.move(-2mm, 0mm, -1.6mm)
  Rectangle19.move(-1mm, 0mm, 0mm)
  Rectangle15.unite(Rectangle16, Rectangle19)
  Rectangle15.move(6mm, 4mm, 10mm)
  Rectangle15.move(-4mm, 4mm, 0mm)
  Rectangle15.move(0mm, -8mm, 0mm)
  Rectangle22 = rectangle(corner=(7mm, 7mm, 1.6mm), x_size=1mm, y_size=1mm)
  Rectangle23 = rectangle(corner=(4mm, 5mm, 1.6mm), x_size=2mm, y_size=5mm)
  Rectangle24 = rectangle(corner=(4.5mm, 5.5mm, 1.6mm), x_size=1mm, y_size=4mm)
  Rectangle25 = rectangle(corner=(4mm, 7.3mm, 1.6mm), x_size=0.6mm, y_size=0.4mm)
  Rectangle23.subtract(Rectangle24, Rectangle25)
  Rectangle23.move(1mm, 0mm, 0mm)
  Rectangle26 = rectangle(corner=(4mm, 5mm, 1.6mm), x_size=2mm, y_size=5mm)
  Rectangle27 = rectangle(corner=(4.5mm, 5.5mm, 1.6mm), x_size=1mm, y_size=4mm)
  Rectangle28 = rectangle(corner=(4mm, 7.3mm, 1.6mm), x_size=0.6mm, y_size=0.4mm)
  Rectangle26.subtract(Rectangle27, Rectangle28)
  Rectangle26.move(4mm, -8.8817842e-16mm, 1.6mm)
  Rectangle26.mirror(point=(10.5mm, 7.5mm, 1.5mm), normal=(1mm, 0mm, 0mm))
  Rectangle26.move(-2mm, 0mm, -1.6mm)
  Rectangle26.move(-1mm, 0mm, 0mm)
  Rectangle22.unite(Rectangle23, Rectangle26)
  Rectangle22.move(6mm, 4mm, 10mm)
  Rectangle22.move(-4mm, 4mm, 0mm)
  Rectangle22.move(0mm, -8mm, 0mm)
  Rectangle22.move(8mm, 0mm, 0mm)
  Rectangle29 = rectangle(corner=(3.5mm, 5mm, -1.6mm), x_size=-1mm, y_size=13mm)
  Rectangle31 = rectangle(corner=(1mm, 22mm, -1.6mm), x_size=4mm, y_size=-4mm)
  Rectangle30 = rectangle(corner=(1mm, 1mm, -1.6mm), x_size=4mm, y_size=4mm)
  Rectangle29.unite(Rectangle31, Rectangle30)
  Rectangle29.move(-0.5mm, 0mm, 0mm)
  Rectangle29.move(0.5mm, 0mm, 0mm)
  Rectangle29.move(0.5mm, 0mm, 0mm)
  Rectangle29.move(1mm, 0mm, 0mm)
  Rectangle29.move(-0.5mm, 0mm, 0mm)
  Rectangle29.move(2.5mm, 1.7763568e-15mm, 0mm)
  Rectangle29.move(2.5mm, -1.7763568e-15mm, 0mm)
  Rectangle29.move(-0.5mm, -1.7763568e-15mm, 0mm)
  ground.subtract(Rectangle29)
  RadiatingSurface [vacuum] = region(absolute_offset=20mm on all sides)
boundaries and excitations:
  PerfE1: Perfect E Objects=patch
  PerfE2: Perfect E Objects=ground
  PerfE4: Perfect E Objects=Rectangle1
  PerfE5: Perfect E Objects=Rectangle8
  PerfE6: Perfect E Objects=Rectangle15
  PerfE7: Perfect E Objects=Rectangle22
  Open1: Radiation Objects=RadiatingSurface
  1: Lumped Port Objects=port LumpedPortType=Modal Modes{Mode1{IntLine{(13.5, 0, -1.6) -> (13.5, 0, 0)} CharImp=Zpi}} Impedance=50ohm
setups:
  Setup1: HfssDriven Frequency=5GHz MaxDeltaS=0.02 MaximumPasses=6 MinimumPasses=1 MinimumConvergedPasses=1 PercentRefinement=30 BasisOrder=1 PortAccuracy=2 DrivenSolverType="Direct Solver"
    sweep Sweep: 2.5GHz to 12GHz, 401 points; Type=Fast SaveFields
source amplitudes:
  1:1: 1W 0deg
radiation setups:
  3D: Infinite Sphere Theta=0deg..180deg step 2deg Phi=-180deg..180deg step 2deg
  Elevation: Infinite Sphere Theta=-180deg..180deg step 1deg Phi=0deg..90deg step 90deg
  Azimuth: Infinite Sphere Theta=90deg..90deg step 0deg Phi=-180deg..180deg step 1deg
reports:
  S Parameter Plot1: dB(S(1,1)) vs Freq on Setup1 : Sweep; markers m1 at 5.0175GHz, m2 at 7.4875GHz, m3 at 9.4825GHz, m4 at 10.83625GHz, m5 at 11.54875GHz, MY1 at y=-10
  Gain Plot1: dB(GainTotal) vs Phi, Theta on Setup1 : Sweep, 3D [Freq=5.0175GHz]
  Gain Plot2: dB(GainTotal) vs Phi, Theta on Setup1 : Sweep, 3D [Freq=7.4875GHz]
  Gain Plot3: dB(GainTotal) vs Phi, Theta on Setup1 : Sweep, 3D [Freq=9.4825GHz]
  Gain Plot4: dB(GainTotal) vs Phi, Theta on Setup1 : Sweep, 3D [Freq=10.8362GHz]
  Gain Plot5: dB(GainTotal) vs Phi, Theta on Setup1 : Sweep, 3D [Freq=11.5488GHz]
